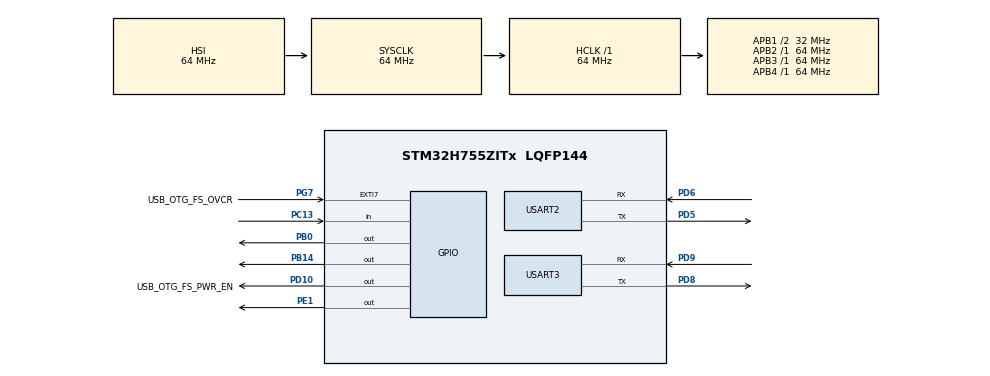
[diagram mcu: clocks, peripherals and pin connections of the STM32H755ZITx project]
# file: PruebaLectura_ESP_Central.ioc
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CortexM4.IPs=FATFS_M4\:I,FREERTOS_M4\:I,IWDG2\:I,RCC,WWDG2\:I,DMA,BDMA,MDMA,NVIC2\:I,ETH,USART3,DEBUG,PDM2PCM_M4\:I,PWR,RESMGR_UTILITY,SYS_M4\:I,USB_DEVICE_M4\:I,USB_HOST_M4\:I,CORTEX_M4\:I,GPIO,OPENAMP_M4\:I,VREFBUF,NUCLEO-H755ZI-Q
CortexM7.IPs=FATFS_M7\:I,FREERTOS_M7\:I,IWDG1\:I,RCC\:I,WWDG1\:I,DMA\:I,BDMA\:I,MDMA\:I,NVIC1\:I,ETH\:I,USART3\:I,USB_OTG_FS\:I,SYS\:I,CORTEX_M7\:I,DEBUG\:I,PDM2PCM_M7\:I,PWR\:I,RESMGR_UTILITY\:I,USB_DEVICE_M7\:I,USB_HOST_M7\:I,GPIO\:I,OPENAMP_M7\:I,VREFBUF\:I,NUCLEO-H755ZI-Q\:I,MEMORYMAP\:I,USART2\:I
Mcu.Family=STM32H7
Mcu.Name=STM32H755ZITx
Mcu.Package=LQFP144
NVIC1.PriorityGroup=NVIC_PRIORITYGROUP_4
NVIC1.USART2_IRQn=true\:0\:0\:false\:false\:true\:true\:true\:true
NVIC2.PriorityGroup=NVIC_PRIORITYGROUP_4
PA1.PinAttribute=CortexM7
PA1.Signal=ETH_REF_CLK
PA11.PinAttribute=CortexM7
PA11.Signal=USB_OTG_FS_DM
PA12.PinAttribute=CortexM7
PA12.Signal=USB_OTG_FS_DP
PA2.PinAttribute=CortexM7
PA2.Signal=ETH_MDIO
PA7.PinAttribute=CortexM7
PA7.Signal=ETH_CRS_DV
PA8.PinAttribute=CortexM7
PA8.Signal=USB_OTG_FS_SOF
PA9.PinAttribute=CortexM7
PA9.Signal=USB_OTG_FS_VBUS
PB0.PinAttribute=Free
PB0.Signal=GPIO_Output
PB13.PinAttribute=CortexM7
PB13.Signal=ETH_TXD1
PB14.PinAttribute=Free
PB14.Signal=GPIO_Output
PC1.PinAttribute=CortexM7
PC1.Signal=ETH_MDC
PC13.PinAttribute=Free
PC13.Signal=GPIO_Input
PC14-OSC32_IN\ (OSC32_IN).PinAttribute=Free
PC14-OSC32_IN\ (OSC32_IN).Signal=RCC_OSC32_IN
PC15-OSC32_OUT\ (OSC32_OUT).PinAttribute=Free
PC15-OSC32_OUT\ (OSC32_OUT).Signal=RCC_OSC32_OUT
PC4.PinAttribute=CortexM7
PC4.Signal=ETH_RXD0
PC5.PinAttribute=CortexM7
PC5.Signal=ETH_RXD1
PD10.GPIO_Label=USB_OTG_FS_PWR_EN
PD10.PinAttribute=Free
PD10.Signal=GPIO_Output
PD5.Mode=Asynchronous
PD5.PinAttribute=CortexM7
PD5.Signal=USART2_TX
PD6.Mode=Asynchronous
PD6.PinAttribute=CortexM7
PD6.Signal=USART2_RX
PD8.Mode=Asynchronous
PD8.PinAttribute=CortexM7
PD8.Signal=USART3_TX
PD9.Mode=Asynchronous
PD9.PinAttribute=CortexM7
PD9.Signal=USART3_RX
PE1.PinAttribute=Free
PE1.Signal=GPIO_Output
PG11.PinAttribute=CortexM7
PG11.Signal=ETH_TX_EN
PG13.PinAttribute=CortexM7
PG13.Signal=ETH_TXD0
PG7.GPIO_Label=USB_OTG_FS_OVCR
PG7.PinAttribute=Free
PG7.Signal=GPXTI7
PH0-OSC_IN\ (PH0).PinAttribute=Free
PH0-OSC_IN\ (PH0).Signal=RCC_OSC_IN
PH1-OSC_OUT\ (PH1).PinAttribute=Free
PH1-OSC_OUT\ (PH1).Signal=RCC_OSC_OUT
ProjectManager.HeapSize=M4-0x200,M7-0x200
ProjectManager.StackSize=M4-0x400,M7-0x400
ProjectManager.TargetToolchain=STM32CubeIDE
RCC.ADCFreq_Value=129000000
RCC.APB1Freq_Value=32000000
RCC.APB2Freq_Value=64000000
RCC.APB3Freq_Value=64000000
RCC.APB4Freq_Value=64000000
RCC.CortexFreq_Value=64000000
RCC.D2PPRE1=RCC_APB1_DIV2
RCC.DIVM1=5
RCC.DIVN1=48
RCC.DIVQ1=5
RCC.HCLKFreq_Value=64000000
RCC.PLL2FRACN=0
RCC.PLL3FRACN=0
RCC.PLLFRACN=0
RCC.SYSCLKFreq_VALUE=64000000
RCC.SupplySource=PWR_DIRECT_SMPS_SUPPLY
RCC.USBFreq_Value=122880000
USART2.VirtualMode-Asynchronous=VM_ASYNC
USART3.VirtualMode-Asynchronous=VM_ASYNC
VP_MEMORYMAP_VS_MEMORYMAP.Mode=CurAppReg
VP_SYS_M4_VS_Systick.Mode=SysTick
board=NUCLEO-H755ZI-Q

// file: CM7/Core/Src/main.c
/* USER CODE BEGIN Header */
/**
  ******************************************************************************
  * @file           : main.c
  * @brief          : Main program body
  ******************************************************************************
  * @attention
  *
  * Copyright (c) 2025 STMicroelectronics.
  * All rights reserved.
  *
  * This software is licensed under terms that can be found in the LICENSE file
  * in the root directory of this software component.
  * If no LICENSE file comes with this software, it is provided AS-IS.
  *
  ******************************************************************************
  */
/* USER CODE END Header */
#include "main.h"

/* USER CODE BEGIN Includes */
#include "stdio.h"
#include "string.h"
/* USER CODE END Includes */

/* USER CODE BEGIN PD */

/* DUAL_CORE_BOOT_SYNC_SEQUENCE: Define for dual core boot synchronization    */
/*                             demonstration code based on hardware semaphore */
/* This define is present in both CM7/CM4 projects                            */
/* To comment when developping/debugging on a single core                     */
//#define DUAL_CORE_BOOT_SYNC_SEQUENCE

#if defined(DUAL_CORE_BOOT_SYNC_SEQUENCE)
#ifndef HSEM_ID_0
#define HSEM_ID_0 (0U) /* HW semaphore 0*/
#endif
#endif /* DUAL_CORE_BOOT_SYNC_SEQUENCE */

/* USER CODE END PD */

UART_HandleTypeDef huart2;
UART_HandleTypeDef huart3;

/* USER CODE BEGIN PV */
#define RX_BUFFER_SIZE 256
uint8_t RxBuffer[RX_BUFFER_SIZE]; // Usaremos este buffer para leer la línea completa de la ESP32
/* USER CODE END PV */

void SystemClock_Config(void);
static void MX_GPIO_Init(void);
static void MX_USART2_UART_Init(void);
static void MX_USART3_UART_Init(void);

int main(void)
{

/* USER CODE BEGIN Boot_Mode_Sequence_0 */
#if defined(DUAL_CORE_BOOT_SYNC_SEQUENCE)
  int32_t timeout;
#endif /* DUAL_CORE_BOOT_SYNC_SEQUENCE */
/* USER CODE END Boot_Mode_Sequence_0 */

/* USER CODE BEGIN Boot_Mode_Sequence_1 */
#if defined(DUAL_CORE_BOOT_SYNC_SEQUENCE)
  /* Wait until CPU2 boots and enters in stop mode or timeout*/
  timeout = 0xFFFF;
  while((__HAL_RCC_GET_FLAG(RCC_FLAG_D2CKRDY) != RESET) && (timeout-- > 0));
  if ( timeout < 0 )
  {
  Error_Handler();
  }
#endif /* DUAL_CORE_BOOT_SYNC_SEQUENCE */
/* USER CODE END Boot_Mode_Sequence_1 */
  /* MCU Configuration--------------------------------------------------------*/

  /* Reset of all peripherals, Initializes the Flash interface and the Systick. */
  HAL_Init();

  /* Configure the system clock */
  SystemClock_Config();
/* USER CODE BEGIN Boot_Mode_Sequence_2 */
#if defined(DUAL_CORE_BOOT_SYNC_SEQUENCE)
/* When system initialization is finished, Cortex-M7 will release Cortex-M4 by means of
HSEM notification */
/*HW semaphore Clock enable*/
__HAL_RCC_HSEM_CLK_ENABLE();
/*Take HSEM */
HAL_HSEM_FastTake(HSEM_ID_0);
/*Release HSEM in order to notify the CPU2(CM4)*/
HAL_HSEM_Release(HSEM_ID_0,0);
/* wait until CPU2 wakes up from stop mode */
timeout = 0xFFFF;
while((__HAL_RCC_GET_FLAG(RCC_FLAG_D2CKRDY) == RESET) && (timeout-- > 0));
if ( timeout < 0 )
{
Error_Handler();
}
#endif /* DUAL_CORE_BOOT_SYNC_SEQUENCE */
/* USER CODE END Boot_Mode_Sequence_2 */

  /* Initialize all configured peripherals */
  MX_GPIO_Init();
  MX_USART2_UART_Init();
  MX_USART3_UART_Init();
  /* USER CODE BEGIN 2 */
  HAL_UART_Transmit(&huart3, (uint8_t*)"Empezando lectura de ESP central por UART...\r\n", 48, 100);
  /* USER CODE END 2 */

  /* Infinite loop */
  /* USER CODE BEGIN WHILE */
  while (1)
  {
	  static uint8_t buffer[300];
	  static uint16_t idx = 0;
	  uint8_t byte;

	  if (HAL_UART_Receive(&huart2, &byte, 1, 100) == HAL_OK)
	  {
		  buffer[idx++] = byte;

		  if (byte == '\n')
		  {
			  HAL_UART_Transmit(&huart3, buffer, idx, 1000);
			  HAL_UART_Transmit(&huart3, (uint8_t*)"\r", 1, 100);
			  idx = 0;
			  memset(buffer, 0, sizeof(buffer));

		  }
	  }
    /* USER CODE END WHILE */

  }
}

void SystemClock_Config(void)
{
  RCC_OscInitTypeDef RCC_OscInitStruct = {0};
  RCC_ClkInitTypeDef RCC_ClkInitStruct = {0};

  /** Supply configuration update enable
  */
  HAL_PWREx_ConfigSupply(PWR_DIRECT_SMPS_SUPPLY);

  /** Configure the main internal regulator output voltage
  */
  __HAL_PWR_VOLTAGESCALING_CONFIG(PWR_REGULATOR_VOLTAGE_SCALE3);

  while(!__HAL_PWR_GET_FLAG(PWR_FLAG_VOSRDY)) {}

  /** Initializes the RCC Oscillators according to the specified parameters
  * in the RCC_OscInitTypeDef structure.
  */
  RCC_OscInitStruct.OscillatorType = RCC_OSCILLATORTYPE_HSI;
  RCC_OscInitStruct.HSIState = RCC_HSI_DIV1;
  RCC_OscInitStruct.HSICalibrationValue = RCC_HSICALIBRATION_DEFAULT;
  RCC_OscInitStruct.PLL.PLLState = RCC_PLL_NONE;
  if (HAL_RCC_OscConfig(&RCC_OscInitStruct) != HAL_OK)
  {
    Error_Handler();
  }

  /** Initializes the CPU, AHB and APB buses clocks
  */
  RCC_ClkInitStruct.ClockType = RCC_CLOCKTYPE_HCLK|RCC_CLOCKTYPE_SYSCLK
                              |RCC_CLOCKTYPE_PCLK1|RCC_CLOCKTYPE_PCLK2
                              |RCC_CLOCKTYPE_D3PCLK1|RCC_CLOCKTYPE_D1PCLK1;
  RCC_ClkInitStruct.SYSCLKSource = RCC_SYSCLKSOURCE_HSI;
  RCC_ClkInitStruct.SYSCLKDivider = RCC_SYSCLK_DIV1;
  RCC_ClkInitStruct.AHBCLKDivider = RCC_HCLK_DIV1;
  RCC_ClkInitStruct.APB3CLKDivider = RCC_APB3_DIV1;
  RCC_ClkInitStruct.APB1CLKDivider = RCC_APB1_DIV2;
  RCC_ClkInitStruct.APB2CLKDivider = RCC_APB2_DIV1;
  RCC_ClkInitStruct.APB4CLKDivider = RCC_APB4_DIV1;

  if (HAL_RCC_ClockConfig(&RCC_ClkInitStruct, FLASH_LATENCY_1) != HAL_OK)
  {
    Error_Handler();
  }
}

static void MX_USART2_UART_Init(void)
{

  huart2.Instance = USART2;
  huart2.Init.BaudRate = 115200;
  huart2.Init.WordLength = UART_WORDLENGTH_8B;
  huart2.Init.StopBits = UART_STOPBITS_1;
  huart2.Init.Parity = UART_PARITY_NONE;
  huart2.Init.Mode = UART_MODE_TX_RX;
  huart2.Init.HwFlowCtl = UART_HWCONTROL_NONE;
  huart2.Init.OverSampling = UART_OVERSAMPLING_16;
  huart2.Init.OneBitSampling = UART_ONE_BIT_SAMPLE_DISABLE;
  huart2.Init.ClockPrescaler = UART_PRESCALER_DIV1;
  huart2.AdvancedInit.AdvFeatureInit = UART_ADVFEATURE_NO_INIT;
  if (HAL_UART_Init(&huart2) != HAL_OK)
  {
    Error_Handler();
  }
  if (HAL_UARTEx_SetTxFifoThreshold(&huart2, UART_TXFIFO_THRESHOLD_1_8) != HAL_OK)
  {
    Error_Handler();
  }
  if (HAL_UARTEx_SetRxFifoThreshold(&huart2, UART_RXFIFO_THRESHOLD_1_8) != HAL_OK)
  {
    Error_Handler();
  }
  if (HAL_UARTEx_DisableFifoMode(&huart2) != HAL_OK)
  {
    Error_Handler();
  }

}

static void MX_USART3_UART_Init(void)
{

  huart3.Instance = USART3;
  huart3.Init.BaudRate = 115200;
  huart3.Init.WordLength = UART_WORDLENGTH_8B;
  huart3.Init.StopBits = UART_STOPBITS_1;
  huart3.Init.Parity = UART_PARITY_NONE;
  huart3.Init.Mode = UART_MODE_TX_RX;
  huart3.Init.HwFlowCtl = UART_HWCONTROL_NONE;
  huart3.Init.OverSampling = UART_OVERSAMPLING_16;
  huart3.Init.OneBitSampling = UART_ONE_BIT_SAMPLE_DISABLE;
  huart3.Init.ClockPrescaler = UART_PRESCALER_DIV1;
  huart3.AdvancedInit.AdvFeatureInit = UART_ADVFEATURE_NO_INIT;
  if (HAL_UART_Init(&huart3) != HAL_OK)
  {
    Error_Handler();
  }
  if (HAL_UARTEx_SetTxFifoThreshold(&huart3, UART_TXFIFO_THRESHOLD_1_8) != HAL_OK)
  {
    Error_Handler();
  }
  if (HAL_UARTEx_SetRxFifoThreshold(&huart3, UART_RXFIFO_THRESHOLD_1_8) != HAL_OK)
  {
    Error_Handler();
  }
  if (HAL_UARTEx_DisableFifoMode(&huart3) != HAL_OK)
  {
    Error_Handler();
  }

}

static void MX_GPIO_Init(void)
{
  GPIO_InitTypeDef GPIO_InitStruct = {0};

  /* GPIO Ports Clock Enable */
  __HAL_RCC_GPIOC_CLK_ENABLE();
  __HAL_RCC_GPIOA_CLK_ENABLE();
  __HAL_RCC_GPIOB_CLK_ENABLE();
  __HAL_RCC_GPIOD_CLK_ENABLE();
  __HAL_RCC_GPIOG_CLK_ENABLE();

  /*Configure GPIO pins : PC1 PC4 PC5 */
  GPIO_InitStruct.Pin = GPIO_PIN_1|GPIO_PIN_4|GPIO_PIN_5;
  GPIO_InitStruct.Mode = GPIO_MODE_AF_PP;
  GPIO_InitStruct.Pull = GPIO_NOPULL;
  GPIO_InitStruct.Speed = GPIO_SPEED_FREQ_LOW;
  GPIO_InitStruct.Alternate = GPIO_AF11_ETH;
  HAL_GPIO_Init(GPIOC, &GPIO_InitStruct);

  /*Configure GPIO pins : PA1 PA2 PA7 */
  GPIO_InitStruct.Pin = GPIO_PIN_1|GPIO_PIN_2|GPIO_PIN_7;
  GPIO_InitStruct.Mode = GPIO_MODE_AF_PP;
  GPIO_InitStruct.Pull = GPIO_NOPULL;
  GPIO_InitStruct.Speed = GPIO_SPEED_FREQ_LOW;
  GPIO_InitStruct.Alternate = GPIO_AF11_ETH;
  HAL_GPIO_Init(GPIOA, &GPIO_InitStruct);

  /*Configure GPIO pin : PB13 */
  GPIO_InitStruct.Pin = GPIO_PIN_13;
  GPIO_InitStruct.Mode = GPIO_MODE_AF_PP;
  GPIO_InitStruct.Pull = GPIO_NOPULL;
  GPIO_InitStruct.Speed = GPIO_SPEED_FREQ_LOW;
  GPIO_InitStruct.Alternate = GPIO_AF11_ETH;
  HAL_GPIO_Init(GPIOB, &GPIO_InitStruct);

  /*Configure GPIO pins : PA8 PA11 PA12 */
  GPIO_InitStruct.Pin = GPIO_PIN_8|GPIO_PIN_11|GPIO_PIN_12;
  GPIO_InitStruct.Mode = GPIO_MODE_AF_PP;
  GPIO_InitStruct.Pull = GPIO_NOPULL;
  GPIO_InitStruct.Speed = GPIO_SPEED_FREQ_LOW;
  GPIO_InitStruct.Alternate = GPIO_AF10_OTG1_FS;
  HAL_GPIO_Init(GPIOA, &GPIO_InitStruct);

  /*Configure GPIO pins : PG11 PG13 */
  GPIO_InitStruct.Pin = GPIO_PIN_11|GPIO_PIN_13;
  GPIO_InitStruct.Mode = GPIO_MODE_AF_PP;
  GPIO_InitStruct.Pull = GPIO_NOPULL;
  GPIO_InitStruct.Speed = GPIO_SPEED_FREQ_LOW;
  GPIO_InitStruct.Alternate = GPIO_AF11_ETH;
  HAL_GPIO_Init(GPIOG, &GPIO_InitStruct);

}

void Error_Handler(void)
{
  __disable_irq();
  while (1)
  {
  }
}
